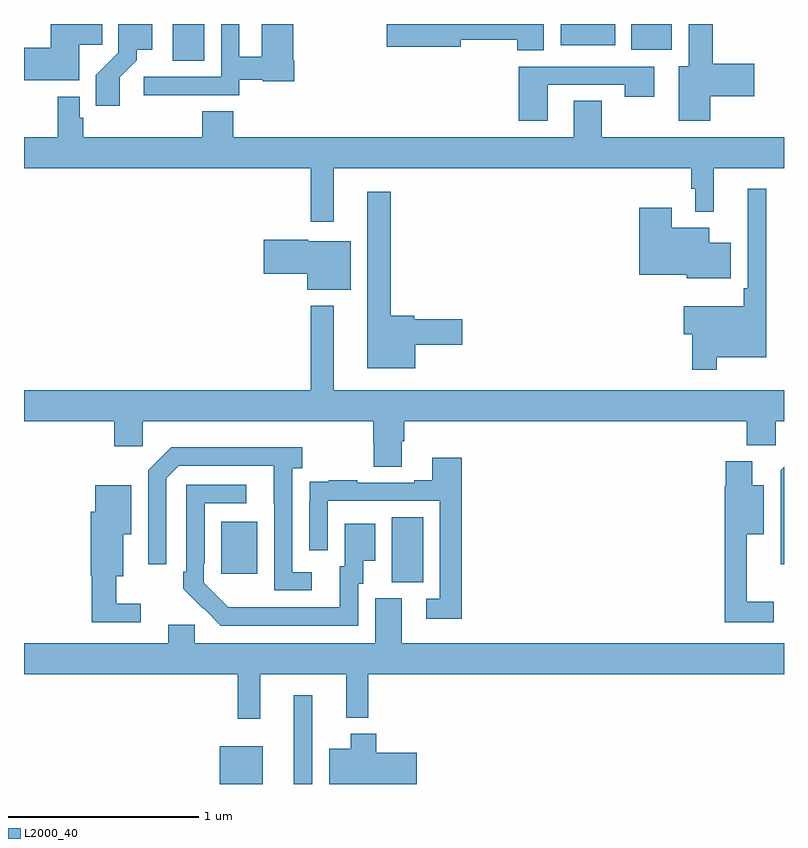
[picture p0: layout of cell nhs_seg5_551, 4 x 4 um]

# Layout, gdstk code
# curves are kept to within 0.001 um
import gdstk
lib = gdstk.Library(unit=1e-6, precision=1e-09)
def R(c, l, rs):  # rectangles x0, y0, x1, y1
    for r in rs: c.add(gdstk.rectangle(r[:2], r[2:], *l))
def P(c, l, *ps):  # polygons
    for p in ps: c.add(gdstk.Polygon(p, *l))
L2000_40 = (2000, 40)

nhs_seg5_551 = lib.new_cell('nhs_seg5_551')
R(nhs_seg5_551, L2000_40, [(146.03,906.799,146.257,906.997), (146.42,906.799,146.517,907.267), (146.936,907.861,147.1,908.204), (146.039,907.905,146.227,908.179), (145.784,910.606,145.948,910.799), (148.196,910.664,148.408,910.799), (147.824,910.688,148.111,910.799)])
P(nhs_seg5_551, L2000_40, [(147.736,910.799),(146.91,910.799),(146.91,910.678),(147.298,910.678),(147.298,910.715),(147.595,910.715),(147.595,910.66),(147.736,910.66)],
  [(145.504,910.519),(145.594,910.609),(145.594,910.664),(145.675,910.664),(145.675,910.799),(145.497,910.799),(145.497,910.649),(145.378,910.53),(145.378,910.368),(145.504,910.368)],
  [(145.291,910.69),(145.412,910.69),(145.412,910.799),(145.142,910.799),(145.142,910.673),(145,910.673),(145,910.502),(145.291,910.502)],
  [(145.853,910.425),(146.133,910.425),(146.133,910.506),(146.256,910.506),(146.256,910.498),(146.423,910.498),(146.423,910.609),(146.418,910.609),(146.418,910.799),(146.252,910.799),(146.252,910.627),(146.133,910.627),(146.133,910.799),(146.037,910.799),(146.037,910.521),(145.629,910.521),(145.629,910.423),(145.853,910.423)],
  [(148.612,910.418),(148.843,910.418),(148.843,910.589),(148.625,910.589),(148.625,910.799),(148.499,910.799),(148.499,910.576),(148.445,910.576),(148.445,910.29),(148.612,910.29)],
  [(147.757,910.479),(148.162,910.479),(148.162,910.416),(148.318,910.416),(148.318,910.575),(147.605,910.575),(147.605,910.29),(147.757,910.29)],
  [(146.629,910.04),(148.513,910.04),(148.513,909.933),(148.533,909.933),(148.533,909.812),(148.631,909.812),(148.631,910.04),(149,910.04),(149,910.204),(148.041,910.204),(148.041,910.394),(147.893,910.394),(147.893,910.204),(146.102,910.204),(146.102,910.34),(145.937,910.34),(145.937,910.204),(145.313,910.204),(145.313,910.305),(145.293,910.305),(145.293,910.417),(145.177,910.417),(145.177,910.204),(145,910.204),(145,910.04),(146.508,910.04),(146.508,909.759),(146.629,909.759)],
  [(148.645,909.044),(148.906,909.044),(148.906,909.931),(148.809,909.931),(148.809,909.409),(148.789,909.409),(148.789,909.313),(148.472,909.313),(148.472,909.166),(148.516,909.166),(148.516,908.979),(148.645,908.979)],
  [(147.058,909.11),(147.307,909.11),(147.307,909.245),(147.054,909.245),(147.054,909.263),(146.929,909.263),(146.929,909.916),(146.807,909.916),(146.807,908.987),(147.058,908.987)],
  [(148.72,909.649),(148.606,909.649),(148.606,909.727),(148.408,909.727),(148.408,909.832),(148.238,909.832),(148.238,909.479),(148.488,909.479),(148.488,909.461),(148.72,909.461)],
  [(146.719,909.655),(146.496,909.655),(146.496,909.663),(146.262,909.663),(146.262,909.485),(146.492,909.485),(146.492,909.401),(146.719,909.401)],
  [(146.989,908.602),(147.002,908.602),(147.002,908.708),(148.805,908.708),(148.805,908.582),(148.956,908.582),(148.956,908.708),(149,908.708),(149,908.872),(146.629,908.872),(146.629,909.316),(146.508,909.316),(146.508,908.872),(145,908.872),(145,908.708),(145.475,908.708),(145.475,908.577),(145.626,908.577),(145.626,908.708),(146.837,908.708),(146.837,908.595),(146.842,908.595),(146.842,908.47),(146.989,908.47)],
  [(146.515,907.914),(146.412,907.914),(146.412,908.462),(146.464,908.462),(146.464,908.572),(145.774,908.572),(145.653,908.451),(145.653,907.956),(145.749,907.956),(145.749,908.409),(145.815,908.475),(146.315,908.475),(146.316,907.818),(146.515,907.818)],
  [(147.305,908.515),(147.149,908.515),(147.149,908.398),(147.053,908.398),(147.053,908.385),(146.753,908.385),(146.753,908.398),(146.605,908.398),(146.605,908.391),(146.503,908.391),(146.503,908.282),(146.502,908.282),(146.502,908.028),(146.598,908.028),(146.598,908.289),(147.189,908.289),(147.189,907.773),(147.117,907.773),(147.117,907.668),(147.305,907.668)],
  [(148.945,907.759),(148.805,907.759),(148.805,908.114),(148.894,908.114),(148.894,908.371),(148.834,908.371),(148.834,908.497),(148.694,908.497),(148.694,908.367),(148.687,908.367),(148.687,907.65),(148.945,907.65)],
  [(149,908.468),(148.983,908.451),(148.983,907.956),(149,907.956)],
  [(146.76,907.854),(146.785,907.854),(146.785,907.973),(146.848,907.973),(146.848,908.17),(146.687,908.17),(146.687,907.944),(146.663,907.944),(146.663,907.728),(146.076,907.729),(145.947,907.857),(145.947,907.957),(145.95,907.957),(145.95,908.277),(146.17,908.277),(146.17,908.373),(145.854,908.373),(145.854,907.915),(145.839,907.915),(145.839,907.827),(146.036,907.632),(146.76,907.632)],
  [(145.615,907.747),(145.486,907.747),(145.486,907.892),(145.522,907.892),(145.522,908.114),(145.564,908.114),(145.564,908.371),(145.376,908.371),(145.376,908.232),(145.352,908.232),(145.352,907.896),(145.357,907.896),(145.357,907.65),(145.615,907.65)],
  [(146.243,907.376),(146.696,907.376),(146.696,907.148),(146.813,907.148),(146.813,907.376),(149,907.376),(149,907.54),(146.989,907.54),(146.989,907.776),(146.849,907.776),(146.849,907.54),(145.899,907.54),(145.899,907.638),(145.76,907.638),(145.76,907.54),(145,907.54),(145,907.376),(146.125,907.376),(146.125,907.143),(146.243,907.143)],
  [(147.067,906.963),(146.855,906.963),(146.855,907.063),(146.72,907.063),(146.72,906.985),(146.606,906.985),(146.606,906.799),(147.067,906.799)])

lib.write_gds('nhs_seg5_551.gds')
